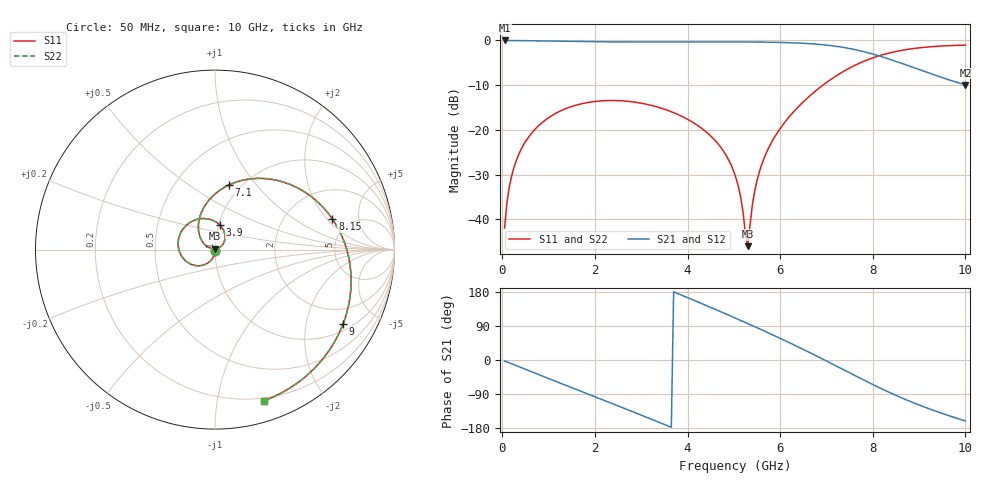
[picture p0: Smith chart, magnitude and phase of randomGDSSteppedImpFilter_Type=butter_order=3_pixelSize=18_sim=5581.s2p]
! freq	dB(S11)	phase(S11)	dB(S12)	phase(S12)
!  dB(S21)	phase(S21)	dB(S22)	phase(S22)
!S-par simulation data
#  GHz  S  DB  R 50
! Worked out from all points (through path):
!   200 points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, 50 MHz to 10 GHz, reference 50 ohm
!   highest |S21| = -0.02 dB at 50 MHz (marker M1); lowest = -9.9 dB at 10 GHz (marker M2)
!   group delay of S21, straight-line fit = 149 ps
!   lowest |S11| = -46.0 dB at 5.3 GHz (marker M3), VSWR 1.01, Z = 49.9 + j0.482 ohm
!   |S11| at or under -10 dB: start of sweep to 6.924 GHz
!   |S22| runs from -47.0 to -1.1 dB; largest |S21 - S12| = 0
!   S11 on the Smith chart (normalised r, x): 50 MHz: 1.00, -0.02; 3.9 GHz: 1.01, +0.28; 7.1 GHz: 0.88, +0.73; 8.15 GHz: 3.66, +2.29; 9 GHz: 1.27, -3.28; 10 GHz: 0.17, -1.36
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0.05  -41.93 -82.2  -0.02 -2.5  -0.02 -2.5  -41.93 -82.2
0.2  -30.38 -97.3  -0.03 -9.9  -0.03 -9.9  -30.38 -97.3
0.5  -22.64 -114.2  -0.07 -24.6  -0.07 -24.6  -22.65 -114.2
1.15  -16.33 -146.6  -0.18 -56.2  -0.18 -56.2  -16.33 -146.6
1.75  -14.08 -175.8  -0.28 -85.0  -0.28 -85.0  -14.08 -175.8
2.5  -13.47 148.0  -0.35 -121.1  -0.35 -121.1  -13.47 148.0
3.4  -15.05 104.0  -0.35 -165.1  -0.35 -165.1  -15.05 103.9
3.9  -17.10 79.0  -0.33 169.7  -0.33 169.7  -17.10 79.0
4.65  -23.02 41.7  -0.33 131.0  -0.33 131.0  -23.02 41.5
5.05  -30.90 25.9  -0.34 109.7  -0.34 109.7  -30.92 25.0
5.15  -35.20 26.6  -0.34 104.3  -0.34 104.3  -35.26 25.0
5.3  -46.01 105.2  -0.35 96.2  -0.35 96.2  -46.96 106.4
5.45  -33.71 161.7  -0.37 88.0  -0.37 88.0  -33.77 163.4
5.65  -26.41 158.1  -0.39 76.9  -0.39 76.9  -26.42 158.9
6.15  -17.65 133.3  -0.50 48.5  -0.50 48.5  -17.66 133.7
6.7  -11.87 101.9  -0.78 15.8  -0.78 15.8  -11.87 102.2
7.1  -8.69 77.9  -1.17 -8.9  -1.17 -8.9  -8.69 78.1
7.65  -5.40 44.2  -2.15 -43.3  -2.15 -43.3  -5.40 44.4
8.15  -3.40 14.6  -3.51 -73.6  -3.51 -73.6  -3.40 14.7
8.35  -2.83 3.3  -4.17 -85.0  -4.17 -85.0  -2.83 3.4
9  -1.67 -30.0  -6.52 -118.7  -6.52 -118.7  -1.67 -29.9
10  -1.06 -72.2  -9.94 -160.7  -9.94 -160.7  -1.06 -72.1
